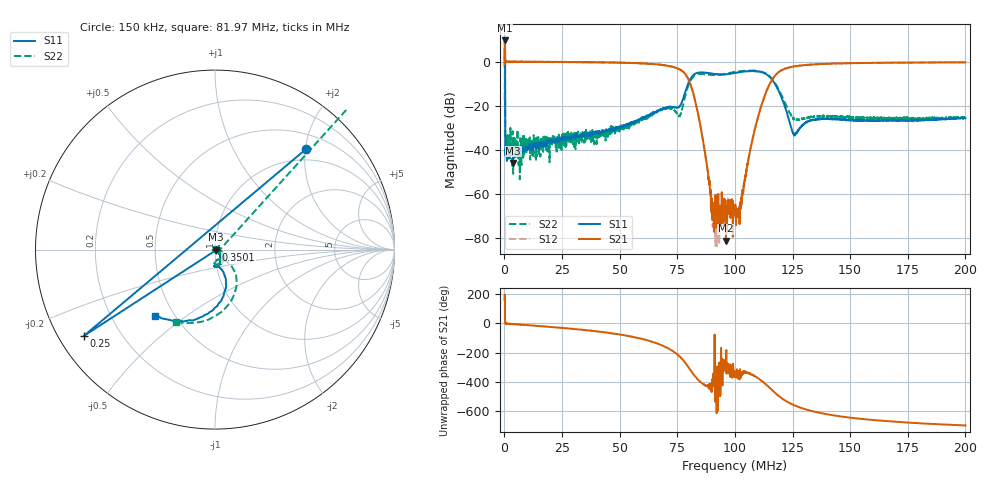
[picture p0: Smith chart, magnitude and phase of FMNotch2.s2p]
! 19-Feb-26 2:26:53 PM
! E:\VNA_MEASUREMENTS\RECBLOCK\FMNOTCH2.S2P
! CHANNEL.1
! TR.MEASUREMENT
! CORRECTED.DATA
# GHZ S RI R 50.0
! FREQ.GHZ  S11RE  S11IM  S21RE  S21IM  S12RE  S12IM  S22RE  S22IM
!; PortSelection: Port_12
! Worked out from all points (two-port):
!   2000 points, 50 kHz to 200 MHz, reference 50 ohm
!   highest |S21| = 9.61 dB at 150 kHz (marker M1); lowest = -81.3 dB at 96.07 MHz (marker M2)
!   |S21| within 3 dB of the highest: 122.4 kHz to 262.9 kHz (140.5 kHz wide, 72.9 % of centre)
!   lowest |S11| = -46.0 dB at 3.751 MHz (marker M3), VSWR 1.01, Z = 50.5 - j0.0126 ohm
!   |S11| at or under -10 dB: 271.3 kHz to 79.69 MHz (79.42 MHz wide, 199 % of centre); 117.3 MHz to end of sweep
!   |S22| runs from -53.5 to 9.4 dB; largest |S21 - S12| = 4.3
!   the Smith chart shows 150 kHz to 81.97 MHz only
!   S11 on the Smith chart (normalised r, x): 150 kHz: 0.78, +2.01; 250 kHz: 0.07, -0.30; 350.1 kHz: 1.01, -0.01; 81.97 MHz: 0.39, -0.38
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5e-05  -0.4141 1.259  -0.8227 0.271  0.017 -0.1338  -0.4099 -1.358
0.000150025  0.5055 0.5586  -2.891 -0.8904  1.168 0.5253  -2.356 -1.783
0.00025005  -0.7312 -0.4811  2.235 0.8593  0.5499 -0.4566  0.7314 0.7785
0.000350075  0.00689 -0.00254  1.003 -0.0258  0.995 -0.00252  0.0177 -0.0113
0.001350325  0.00883 0.000771  1.007 -0.0119  0.9901 -0.0276  0.0188 0.0106
0.003750925  0.00498 -0.000124  0.9735 -0.0836  0.9837 -0.0748  -0.00279 -0.000303
0.03345835  0.0195 -0.00517  0.7189 -0.6682  0.7099 -0.6654  0.0138 -0.00178
0.06676668  0.0294 -0.0717  -0.6576 -0.5483  -0.6592 -0.5525  0.045 -0.062
0.07686921  0.0353 -0.1103  -0.32 0.5378  -0.3174 0.537  0.047 -0.0581
0.08197048  -0.3346 -0.3678  0.1809 0.0445  0.181 0.043  -0.2168 -0.402
0.08567141  -0.5273 0.2122  0.0152 -0.0168  0.015 -0.0169  -0.4989 0.16
0.09127281  0.2639 0.4486  -0.000314 0.000263  0.000222 -2.05e-05  0.3122 0.3846
0.09607401  0.4612 -0.2335  5.78e-05 6.34e-05  0.000513 0.000281  0.4227 -0.3225
0.100075  -0.0473 -0.5538  0.000429 0.000105  0.00028 3.5e-06  -0.0946 -0.5764
0.1021755  -0.3482 -0.4612  0.000302 0.000334  0.000637 -3.75e-05  -0.377 -0.4746
0.1065766  -0.5953 0.1114  0.0089 0.00285  0.00894 0.00297  -0.6256 0.0638
0.1110778  -0.1494 0.563  0.0771 -0.0378  0.0774 -0.0366  -0.2517 0.5433
0.1151788  0.3366 0.29  0.0494 -0.3134  0.0497 -0.3139  0.269 0.3729
0.1255814  0.0234 -0.00329  -0.7448 0.2371  -0.738 0.232  0.0484 -0.000974
0.1333833  0.0428 0.0186  -0.4551 0.7277  -0.457 0.7285  0.0556 0.00891
0.1666917  0.0369 -0.0294  0.5783 0.7466  0.5764 0.7404  0.0306 -0.0413
0.2  0.0259 -0.0449  0.8834 0.3859  0.8811 0.3848  0.0125 -0.0544
